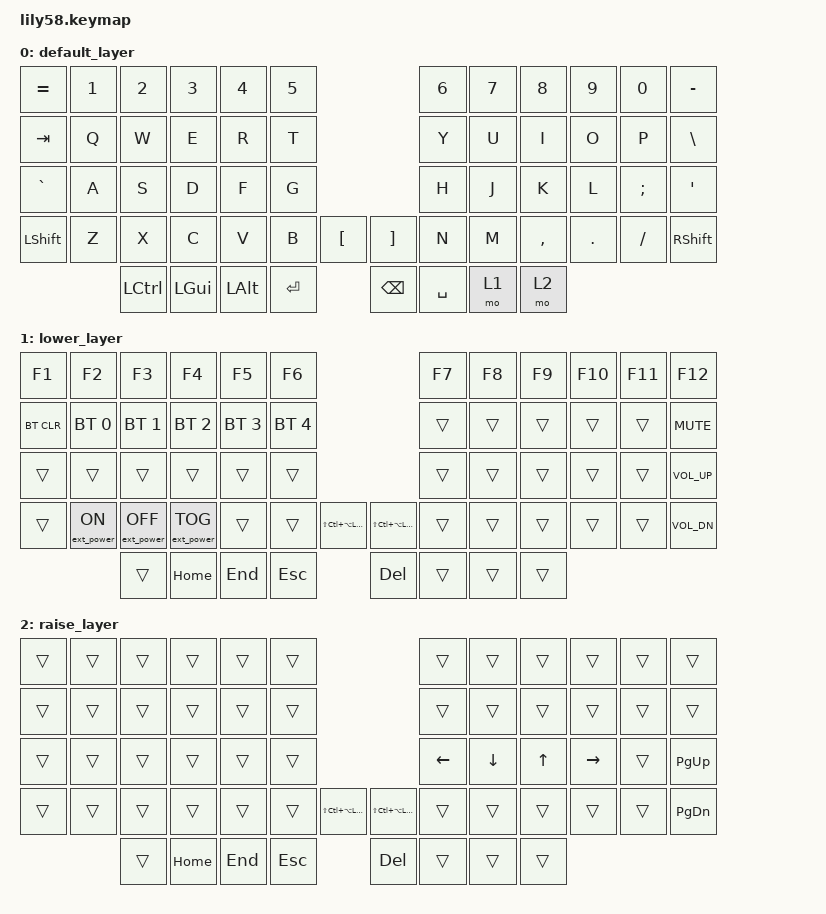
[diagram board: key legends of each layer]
/*
 * Copyright (c) 2020 The ZMK Contributors
 *
 * SPDX-License-Identifier: MIT
 */

#include <behaviors.dtsi>
#include <dt-bindings/zmk/keys.h>
#include <dt-bindings/zmk/bt.h>
#include <dt-bindings/zmk/ext_power.h>

#define HYP LS(LC(LA(LGUI)))
/* #define MEH LS(LC(LALT)) */

/ {
    keymap {
        compatible = "zmk,keymap";

        default_layer {
// ------------------------------------------------------------------------------------------------------------
// |  =    |  1  |  2  |  3   |  4   |  5   |                   |  6   |  7    |  8    |  9   |   0   |   -   |
// |  TAB  |  Q  |  W  |  E   |  R   |  T   |                   |  Y   |  U    |  I    |  O   |   P   |   \   |
// |  `    |  A  |  S  |  D   |  F   |  G   |                   |  H   |  J    |  K    |  L   |   ;   |   '   |
// | SHIFT |  Z  |  X  |  C   |  V   |  B   |   "["  |  |  "]"  |  N   |  M    |  ,    |  .   |   /   | SHIFT |
//                     | CTRL  | GUI  | ALT |  ENTER |  | BCKSPCE | SPACE | LOWER | RAISE |
            bindings = <
&kp EQUAL &kp N1 &kp N2 &kp N3   &kp N4   &kp N5                      &kp N6    &kp N7   &kp N8    &kp N9  &kp N0   &kp MINUS
&kp TAB   &kp Q  &kp W  &kp E    &kp R    &kp T                       &kp Y     &kp U    &kp I     &kp O   &kp P    &kp BSLH 
&kp GRAVE &kp A  &kp S  &kp D    &kp F    &kp G                       &kp H     &kp J    &kp K     &kp L   &kp SEMI &kp SQT
&kp LSHFT &kp Z  &kp X  &kp C    &kp V    &kp B  &kp LBKT   &kp RBKT  &kp N     &kp M    &kp COMMA &kp DOT &kp FSLH &kp RSHFT
                    &kp LCTRL &kp LGUI &kp LALT  &kp RET    &kp BSPC  &kp SPACE &mo 1 &mo 2
            >;
        };

        lower_layer {
// ------------------------------------------------------------------------------------------------------------
// |  F1   |  F2   |  F3    |  F4    |  F5  |  F6  |                   |  F7  |  F8   |  F9   |  F10 |  F11  |  F12   |
// | BTCLR | BT1   | BT2    |  BT3   |  BT4 |  BT5 |                   |      |       |       |      |       | mute   |
// |       |       |        |        |      |      |                   |      |       |       |      |       | volup  |
// |       | exton | extoff | exttog |      |      | hyper  |  | hyper |      |       |       |      |       | voldwn |
//                          |        | home | end  | ESCAPE |  | delete|      |       |       |
            bindings = <
&kp F1     &kp F2           &kp F3            &kp F4            &kp F5       &kp F6                       &kp F7    &kp F8        &kp F9  &kp F10  &kp F11 &kp F12
&bt BT_CLR &bt BT_SEL 0     &bt BT_SEL 1      &bt BT_SEL 2      &bt BT_SEL 3 &bt BT_SEL 4                 &trans    &trans        &trans  &trans   &trans  &kp C_MUTE 
&trans     &trans           &trans            &trans            &trans       &trans                       &trans    &trans        &trans  &trans   &trans  &kp C_VOL_UP 
&trans     &ext_power EP_ON &ext_power EP_OFF &ext_power EP_TOG &trans       &trans    &kp HYP  &kp HYP   &trans    &trans        &trans  &trans   &trans  &kp C_VOL_DN 
                                              &trans            &kp HOME     &kp END   &kp ESC  &kp DEL   &trans    &trans        &trans
            >;
        };

        raise_layer {
// ------------------------------------------------------------------------------------------------------------
// |       |     |     |      |      |      |                   |      |       |       |      |       |       |
// |       |     |     |      |      |      |                   |      |       |       |      |       |       |
// |       |     |     |      |      |      |                   |  <-  |   v   |   ^   |  ->  |       |  PGUP |
// |       |     |     |      |      |      |  hyper |  | hyper |      |       |       |      |       | PGDWN |
//                     |      | home | end  | ESCAPE |  | delete|      |       |       |
            bindings = <
&trans    &trans &trans &trans  &trans    &trans                     &trans    &trans    &trans    &trans   &trans    &trans
&trans    &trans &trans &trans  &trans    &trans                     &trans    &trans    &trans    &trans   &trans    &trans
&trans    &trans &trans &trans  &trans    &trans                     &kp LEFT  &kp DOWN  &kp UP  &kp RIGHT  &trans    &kp PG_UP
&trans    &trans &trans &trans  &trans    &trans  &kp HYP   &kp HYP  &trans    &trans    &trans    &trans   &trans    &kp PG_DN
                        &trans  &kp HOME  &kp END &kp ESC   &kp DEL  &trans    &trans    &trans
            >;
        };
    };
};
